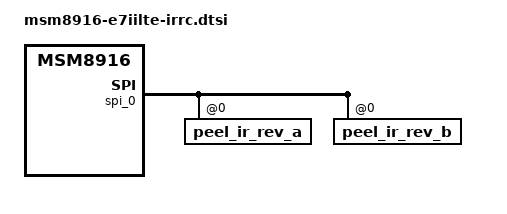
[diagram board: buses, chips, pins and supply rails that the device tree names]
/* Copyright (c) 2012, Code Aurora Forum. All rights reserved.
 *
 * This program is free software; you can redistribute it and/or modify
 * it under the terms of the GNU General Public License version 2 and
 * only version 2 as published by the Free Software Foundation.
 *
 * This program is distributed in the hope that it will be useful,
 * but WITHOUT ANY WARRANTY; without even the implied warranty of
 * MERCHANTABILITY or FITNESS FOR A PARTICULAR PURPOSE.  See the
 * GNU General Public License for more details.
 */

&spi_0 {

    spi-max-frequency = <960000>;
	status = "ok";

	peel_ir_rev_a@0 {
		revision = "rev_a";
		status = "ok";
	};

	peel_ir_rev_b@0 {
		revision = "rev_b...";
		status = "ok";
	};

};
